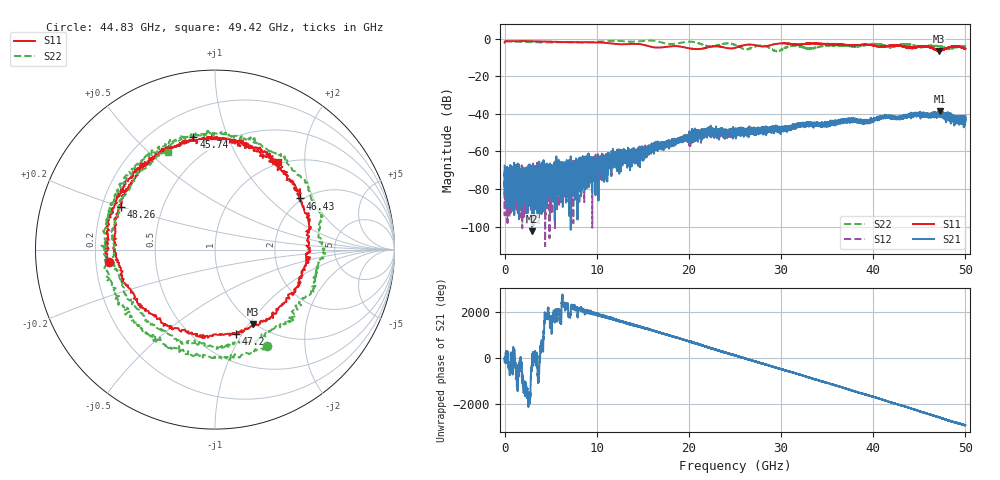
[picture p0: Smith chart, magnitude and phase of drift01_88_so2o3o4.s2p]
!Created with skrf (http://scikit-rf.org).
# Hz S RI R 50.0
!freq ReS11 ImS11 ReS21 ImS21 ReS12 ImS12 ReS22 ImS22
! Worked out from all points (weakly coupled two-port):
!   10001 points, 300 kHz to 50 GHz, reference 50 ohm
!   highest |S21| = -38.52 dB at 47.22 GHz (marker M1); lowest = -102.4 dB at 2.965 GHz (marker M2)
!   lowest |S11| = -6.6 dB at 47.11 GHz (marker M3), VSWR 2.75, Z = 49.2 - j52.4 ohm
!   |S11| at or under -10 dB: nowhere
!   |S22| runs from -6.8 to -1.0 dB; largest |S21 - S12| = 0.0035
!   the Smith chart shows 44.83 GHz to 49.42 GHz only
!   S11 on the Smith chart (normalised r, x): 44.83 GHz: 0.26, -0.05; 45.74 GHz: 0.36, +0.76; 46.43 GHz: 1.94, +1.58; 47.2 GHz: 0.76, -0.94; 48.26 GHz: 0.28, +0.20; 49.42 GHz: 0.97, +1.48
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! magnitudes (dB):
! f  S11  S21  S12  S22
! 300 kHz  -2.1  -67.6  -70.4  -1.3
! 255.3 MHz  -1.4  -70.7  -89.2  -1.4
! 2.965 GHz  -1.5  -102.4  -69.9  -2.0
! 8.335 GHz  -1.9  -69.5  -68.3  -2.1
! 16.67 GHz  -4.8  -56.8  -57.8  -1.6
! 21.03 GHz  -5.6  -49.6  -52.4  -2.5
! 25 GHz  -5.0  -49.1  -48.8  -3.4
! 26.19 GHz  -3.4  -49.8  -49.0  -5.7
! 28.09 GHz  -4.3  -48.8  -48.6  -3.8
! 29.55 GHz  -2.8  -47.4  -47.9  -6.7
! 31.28 GHz  -3.0  -45.4  -47.8  -3.9
! 33.34 GHz  -2.6  -46.2  -45.1  -5.3
! 41.67 GHz  -3.9  -41.0  -41.8  -4.5
! 44.83 GHz  -4.5  -40.8  -40.2  -4.3
! 45.74 GHz  -3.9  -40.6  -40.7  -4.1
! 46.43 GHz  -5.2  -40.8  -40.7  -3.6
! 47.11 GHz  -6.6  -39.7  -40.0  -4.0
! 47.2 GHz  -6.3  -40.4  -40.4  -4.3
! 47.22 GHz  -6.3  -38.5  -40.6  -4.3
! 48.26 GHz  -4.8  -40.5  -41.1  -5.2
! 49.42 GHz  -4.4  -43.4  -43.1  -4.4
! 50 GHz  -5.5  -41.0  -44.8  -4.2
